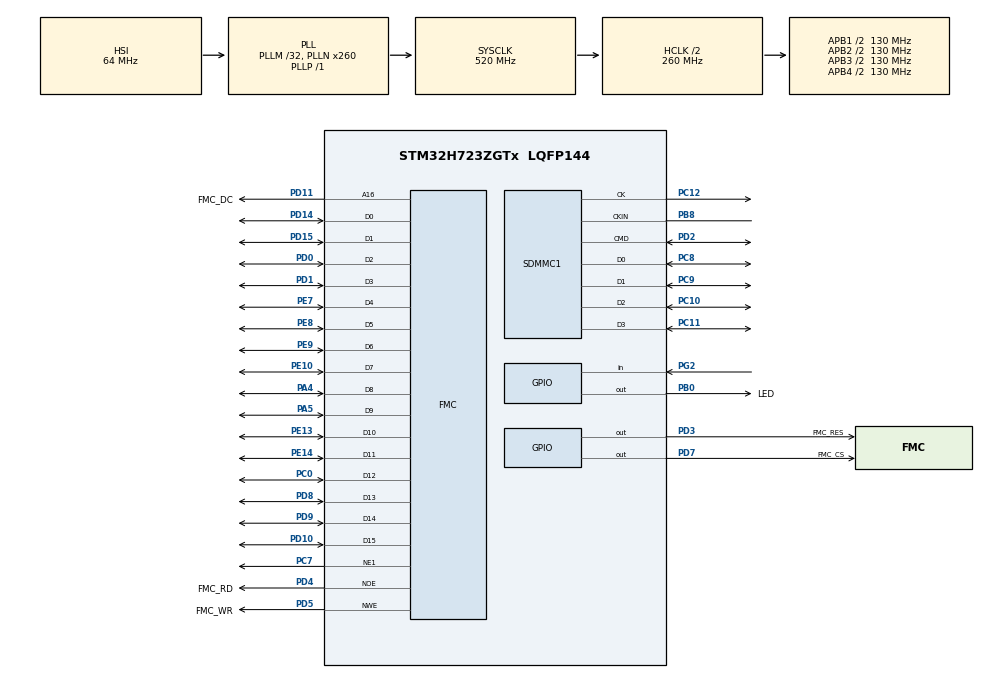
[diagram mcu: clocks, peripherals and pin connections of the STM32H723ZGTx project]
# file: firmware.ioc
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CORTEX_M7.default_mode_Activation=1
CRC.InputDataInversionMode=CRC_INPUTDATA_INVERSION_BYTE
CRC.OutputDataInversionMode=CRC_OUTPUTDATA_INVERSION_ENABLE
FATFS.BSP.number=1
FATFS0.BSP.STBoard=false
FATFS0.BSP.api=Unknown
FATFS0.BSP.instance=PG2
FATFS0.BSP.ip=GPIO
FATFS0.BSP.mode=Input
FATFS0.BSP.name=Detect_SDIO
FATFS0.BSP.solution=PG2
FMC.ExtendedMode1=FMC_EXTENDED_MODE_DISABLE
FREERTOS.Tasks01=defaultTask,24,128,StartDefaultTask,Default,NULL,Dynamic,NULL,NULL
Mcu.Family=STM32H7
Mcu.Name=STM32H723ZGTx
Mcu.Package=LQFP144
NVIC.PriorityGroup=NVIC_PRIORITYGROUP_4
NVIC.TIM6_DAC_IRQn=true\:15\:0\:false\:false\:true\:false\:false\:true\:true
NVIC.TimeBase=TIM6_DAC_IRQn
NVIC.TimeBaseIP=TIM6
PA4.Signal=FMC_D8_DA8
PA5.Signal=FMC_D9_DA9
PB0.GPIO_Label=LED
PB0.Signal=GPIO_Output
PB8.Mode=SD_4_bits_Wide_bus_auto_dir_voltage_converter
PB8.Signal=SDMMC1_CKIN
PC0.Signal=FMC_D12_DA12
PC10.Mode=SD_4_bits_Wide_bus_auto_dir_voltage_converter
PC10.Signal=SDMMC1_D2
PC11.Mode=SD_4_bits_Wide_bus_auto_dir_voltage_converter
PC11.Signal=SDMMC1_D3
PC12.GPIO_PuPd=GPIO_PULLUP
PC12.Mode=SD_4_bits_Wide_bus_auto_dir_voltage_converter
PC12.Signal=SDMMC1_CK
PC7.Mode=NorPsramChipSelect1_1
PC7.Signal=FMC_NE1
PC8.GPIO_PuPd=GPIO_PULLUP
PC8.Mode=SD_4_bits_Wide_bus_auto_dir_voltage_converter
PC8.Signal=SDMMC1_D0
PC9.Mode=SD_4_bits_Wide_bus_auto_dir_voltage_converter
PC9.Signal=SDMMC1_D1
PD0.Signal=FMC_D2_DA2
PD1.Signal=FMC_D3_DA3
PD10.Signal=FMC_D15_DA15
PD11.GPIO_Label=FMC_DC
PD11.Signal=FMC_A16_CLE
PD14.Signal=FMC_D0_DA0
PD15.Signal=FMC_D1_DA1
PD2.GPIO_PuPd=GPIO_PULLUP
PD2.Mode=SD_4_bits_Wide_bus_auto_dir_voltage_converter
PD2.Signal=SDMMC1_CMD
PD3.GPIO_Label=FMC_RES
PD3.Signal=GPIO_Output
PD4.GPIO_Label=FMC_RD
PD4.Signal=FMC_NOE
PD5.GPIO_Label=FMC_WR
PD5.Signal=FMC_NWE
PD7.GPIO_Label=FMC_CS
PD7.Signal=GPIO_Output
PD8.Signal=FMC_D13_DA13
PD9.Signal=FMC_D14_DA14
PE10.Signal=FMC_D7_DA7
PE13.Signal=FMC_D10_DA10
PE14.Signal=FMC_D11_DA11
PE7.Signal=FMC_D4_DA4
PE8.Signal=FMC_D5_DA5
PE9.Signal=FMC_D6_DA6
PG2.Signal=GPIO_Input
ProjectManager.HeapSize=0x200
ProjectManager.StackSize=0x400
ProjectManager.TargetToolchain=CMake
RCC.ADCFreq_Value=96000000
RCC.APB1Freq_Value=130000000
RCC.APB2Freq_Value=130000000
RCC.APB3Freq_Value=130000000
RCC.APB4Freq_Value=130000000
RCC.CortexFreq_Value=520000000
RCC.D1PPRE=RCC_APB3_DIV2
RCC.D2PPRE1=RCC_APB1_DIV2
RCC.D2PPRE2=RCC_APB2_DIV2
RCC.D3PPRE=RCC_APB4_DIV2
RCC.DIVM1=32
RCC.DIVM2=32
RCC.DIVN1=260
RCC.DIVN2=192
RCC.DIVP1=1
RCC.DIVQ1=4
RCC.DIVR2=4
RCC.HCLKFreq_Value=260000000
RCC.HPRE=RCC_HCLK_DIV2
RCC.PLL2FRACN=0
RCC.PLLFRACN=0
RCC.PWR_Regulator_Voltage_Scale=PWR_REGULATOR_VOLTAGE_SCALE0
RCC.SDMMC1CLockSelection=RCC_SDMMCCLKSOURCE_PLL2
RCC.SYSCLKFreq_VALUE=520000000
RCC.SYSCLKSource=RCC_SYSCLKSOURCE_PLLCLK
RCC.USBFreq_Value=96000000
SDMMC1.ClockDiv=8
SDMMC1.HardwareFlowControl=SDMMC_HARDWARE_FLOW_CONTROL_ENABLE
SH.FMC_A16_CLE.0=FMC_A16,A16_1
SH.FMC_D0_DA0.0=FMC_D0,16b-d1
SH.FMC_D10_DA10.0=FMC_D10,16b-d1
SH.FMC_D11_DA11.0=FMC_D11,16b-d1
SH.FMC_D12_DA12.0=FMC_D12,16b-d1
SH.FMC_D13_DA13.0=FMC_D13,16b-d1
SH.FMC_D14_DA14.0=FMC_D14,16b-d1
SH.FMC_D15_DA15.0=FMC_D15,16b-d1
SH.FMC_D1_DA1.0=FMC_D1,16b-d1
SH.FMC_D2_DA2.0=FMC_D2,16b-d1
SH.FMC_D3_DA3.0=FMC_D3,16b-d1
SH.FMC_D4_DA4.0=FMC_D4,16b-d1
SH.FMC_D5_DA5.0=FMC_D5,16b-d1
SH.FMC_D6_DA6.0=FMC_D6,16b-d1
SH.FMC_D7_DA7.0=FMC_D7,16b-d1
SH.FMC_D8_DA8.0=FMC_D8,16b-d1
SH.FMC_D9_DA9.0=FMC_D9,16b-d1
SH.FMC_NOE.0=FMC_NOE,Lcd1
SH.FMC_NWE.0=FMC_NWE,Lcd1
VP_CRC_VS_CRC.Mode=CRC_Activate
VP_FATFS_VS_SDIO.Mode=SDIO
VP_FREERTOS_VS_CMSIS_V2.Mode=CMSIS_V2
VP_MEMORYMAP_VS_MEMORYMAP.Mode=CurAppReg
VP_SYS_VS_tim6.Mode=TIM6
board=custom

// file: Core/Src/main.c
/* USER CODE BEGIN Header */
/**
  ******************************************************************************
  * @file           : main.c
  * @brief          : Main program body
  ******************************************************************************
  * @attention
  *
  * Copyright (c) 2026 STMicroelectronics.
  * All rights reserved.
  *
  * This software is licensed under terms that can be found in the LICENSE file
  * in the root directory of this software component.
  * If no LICENSE file comes with this software, it is provided AS-IS.
  *
  ******************************************************************************
  */
/* USER CODE END Header */
#include "main.h"
#include "FreeRTOS.h"
#include "cmsis_os2.h"
#include "crc.h"
#include "fatfs.h"
#include "sdmmc.h"
#include "gpio.h"
#include "fmc.h"

/* USER CODE BEGIN Includes */
#include "db_main.h"
#include "sd_bus_test.h"
#include "persist_demo.h"
#include "mh_main.h"
#include "mh_demo.h"
#include "sa_main.h"
#include "database_main.h"
#include "db_demo.h"
#include "test_fmc.h"
#if NAME_INDEX_BENCH
#include "name_index_bench.h"
#endif
/* USER CODE END Includes */

void SystemClock_Config(void);
static void MPU_Config(void);
void MX_FREERTOS_Init(void);
/* USER CODE BEGIN PFP */
static void MPU_Config_FMC(void);

/* USER CODE END PFP */

int main(void)
{

  /* MPU Configuration--------------------------------------------------------*/
  MPU_Config();

  /* MCU Configuration--------------------------------------------------------*/

  /* Reset of all peripherals, Initializes the Flash interface and the Systick. */
  HAL_Init();

  /* USER CODE BEGIN Init */
  MPU_Config_FMC();

  /* USER CODE END Init */

  /* Configure the system clock */
  SystemClock_Config();

  /* Initialize all configured peripherals */
  MX_GPIO_Init();
  MX_FMC_Init();
  MX_SDMMC1_SD_Init();
  MX_FATFS_Init();
  MX_CRC_Init();
  /* USER CODE BEGIN 2 */
#if SD_BUS_TEST
  SD_BusTest_Init();
#elif PERSIST_DEMO
  PersistDemo_Init();
#elif MH_TEST
  MH_Test_Init();
#elif MH_DEMO
  MH_Demo_Init();
#elif SA_TEST
  SA_Test_Init();
#elif DATABASE_TEST
  Database_Test_Init();
#elif DB_DEMO
  DB_Demo_Init();
#elif NAME_INDEX_BENCH
  NameIndexBench_Init();
#else
  DB_Init();
#endif
  /* USER CODE END 2 */

  /* Init scheduler */
  osKernelInitialize();  /* Call init function for freertos objects (in cmsis_os2.c) */
  MX_FREERTOS_Init();

  /* Start scheduler */
  osKernelStart();

  /* We should never get here as control is now taken by the scheduler */

  /* Infinite loop */
  while (1)
  {

  }
}

void SystemClock_Config(void)
{
  RCC_OscInitTypeDef RCC_OscInitStruct = {0};
  RCC_ClkInitTypeDef RCC_ClkInitStruct = {0};

  /** Supply configuration update enable
  */
  HAL_PWREx_ConfigSupply(PWR_LDO_SUPPLY);

  /** Configure the main internal regulator output voltage
  */
  __HAL_PWR_VOLTAGESCALING_CONFIG(PWR_REGULATOR_VOLTAGE_SCALE0);

  while(!__HAL_PWR_GET_FLAG(PWR_FLAG_VOSRDY)) {}

  /** Initializes the RCC Oscillators according to the specified parameters
  * in the RCC_OscInitTypeDef structure.
  */
  RCC_OscInitStruct.OscillatorType = RCC_OSCILLATORTYPE_HSI;
  RCC_OscInitStruct.HSIState = RCC_HSI_DIV1;
  RCC_OscInitStruct.HSICalibrationValue = 64;
  RCC_OscInitStruct.PLL.PLLState = RCC_PLL_ON;
  RCC_OscInitStruct.PLL.PLLSource = RCC_PLLSOURCE_HSI;
  RCC_OscInitStruct.PLL.PLLM = 32;
  RCC_OscInitStruct.PLL.PLLN = 260;
  RCC_OscInitStruct.PLL.PLLP = 1;
  RCC_OscInitStruct.PLL.PLLQ = 4;
  RCC_OscInitStruct.PLL.PLLR = 2;
  RCC_OscInitStruct.PLL.PLLRGE = RCC_PLL1VCIRANGE_1;
  RCC_OscInitStruct.PLL.PLLVCOSEL = RCC_PLL1VCOWIDE;
  RCC_OscInitStruct.PLL.PLLFRACN = 0;
  if (HAL_RCC_OscConfig(&RCC_OscInitStruct) != HAL_OK)
  {
    Error_Handler();
  }

  /** Initializes the CPU, AHB and APB buses clocks
  */
  RCC_ClkInitStruct.ClockType = RCC_CLOCKTYPE_HCLK|RCC_CLOCKTYPE_SYSCLK
                              |RCC_CLOCKTYPE_PCLK1|RCC_CLOCKTYPE_PCLK2
                              |RCC_CLOCKTYPE_D3PCLK1|RCC_CLOCKTYPE_D1PCLK1;
  RCC_ClkInitStruct.SYSCLKSource = RCC_SYSCLKSOURCE_PLLCLK;
  RCC_ClkInitStruct.SYSCLKDivider = RCC_SYSCLK_DIV1;
  RCC_ClkInitStruct.AHBCLKDivider = RCC_HCLK_DIV2;
  RCC_ClkInitStruct.APB3CLKDivider = RCC_APB3_DIV2;
  RCC_ClkInitStruct.APB1CLKDivider = RCC_APB1_DIV2;
  RCC_ClkInitStruct.APB2CLKDivider = RCC_APB2_DIV2;
  RCC_ClkInitStruct.APB4CLKDivider = RCC_APB4_DIV2;

  if (HAL_RCC_ClockConfig(&RCC_ClkInitStruct, FLASH_LATENCY_3) != HAL_OK)
  {
    Error_Handler();
  }
}

/* USER CODE BEGIN 4 */

/* The generated MPU_Config() makes 0x60000000-0x7FFFFFFF no-access, which
 * would fault on the first LCD write. Open up FMC bank 1 (64MB) as
 * strongly-ordered memory so the Cortex-M7 doesn't reorder, merge or
 * speculatively read the LCD command/data registers. */
static void MPU_Config_FMC(void)
{
  MPU_Region_InitTypeDef MPU_InitStruct = {0};

  HAL_MPU_Disable();

  MPU_InitStruct.Enable = MPU_REGION_ENABLE;
  MPU_InitStruct.Number = MPU_REGION_NUMBER1;
  MPU_InitStruct.BaseAddress = 0x60000000;
  MPU_InitStruct.Size = MPU_REGION_SIZE_64MB;
  MPU_InitStruct.SubRegionDisable = 0x00;
  MPU_InitStruct.TypeExtField = MPU_TEX_LEVEL0;
  MPU_InitStruct.AccessPermission = MPU_REGION_FULL_ACCESS;
  MPU_InitStruct.DisableExec = MPU_INSTRUCTION_ACCESS_DISABLE;
  MPU_InitStruct.IsShareable = MPU_ACCESS_SHAREABLE;
  MPU_InitStruct.IsCacheable = MPU_ACCESS_NOT_CACHEABLE;
  MPU_InitStruct.IsBufferable = MPU_ACCESS_NOT_BUFFERABLE;

  HAL_MPU_ConfigRegion(&MPU_InitStruct);
  HAL_MPU_Enable(MPU_PRIVILEGED_DEFAULT);
}

/* USER CODE END 4 */

 /* MPU Configuration */

void MPU_Config(void)
{
  MPU_Region_InitTypeDef MPU_InitStruct = {0};

  /* Disables the MPU */
  HAL_MPU_Disable();

  /** Initializes and configures the Region and the memory to be protected
  */
  MPU_InitStruct.Enable = MPU_REGION_ENABLE;
  MPU_InitStruct.Number = MPU_REGION_NUMBER0;
  MPU_InitStruct.BaseAddress = 0x0;
  MPU_InitStruct.Size = MPU_REGION_SIZE_4GB;
  MPU_InitStruct.SubRegionDisable = 0x87;
  MPU_InitStruct.TypeExtField = MPU_TEX_LEVEL0;
  MPU_InitStruct.AccessPermission = MPU_REGION_NO_ACCESS;
  MPU_InitStruct.DisableExec = MPU_INSTRUCTION_ACCESS_DISABLE;
  MPU_InitStruct.IsShareable = MPU_ACCESS_SHAREABLE;
  MPU_InitStruct.IsCacheable = MPU_ACCESS_NOT_CACHEABLE;
  MPU_InitStruct.IsBufferable = MPU_ACCESS_NOT_BUFFERABLE;

  HAL_MPU_ConfigRegion(&MPU_InitStruct);
  /* Enables the MPU */
  HAL_MPU_Enable(MPU_PRIVILEGED_DEFAULT);

}

void HAL_TIM_PeriodElapsedCallback(TIM_HandleTypeDef *htim)
{
  if (htim->Instance == TIM6)
  {
    HAL_IncTick();
  }
}

void Error_Handler(void)
{
  __disable_irq();
  while (1)
  {
  }
}

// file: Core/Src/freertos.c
/* USER CODE BEGIN Header */
/**
  ******************************************************************************
  * File Name          : freertos.c
  * Description        : Code for freertos applications
  ******************************************************************************
  * @attention
  *
  * Copyright (c) 2026 STMicroelectronics.
  * All rights reserved.
  *
  * This software is licensed under terms that can be found in the LICENSE file
  * in the root directory of this software component.
  * If no LICENSE file comes with this software, it is provided AS-IS.
  *
  ******************************************************************************
  */
/* USER CODE END Header */

#include "FreeRTOS.h"
#include "task.h"
#include "main.h"
#include "FreeRTOS.h"
#include "cmsis_os2.h"

/* USER CODE BEGIN Includes */
#include <string.h>
#include <stdint.h>

#include "fatfs.h"
#include "sdmmc.h"
#include "raw_sd.h"
#include "fmc_func.h"
#include "fmc_ui_test.h"
extern SD_HandleTypeDef hsd1;
/* USER CODE END Includes */

/* USER CODE BEGIN Variables */
osThreadId_t FMC_TaskHandle;

const osThreadAttr_t fmc_attributes = {
  .name = "FMC Task",
  .stack_size = 1024 * 4,
  .priority = (osPriority_t) osPriorityNormal,
};
osThreadId_t heartbeatTaskHandle;

const osThreadAttr_t heartbeatTask_attributes = {
  .name = "Heartbeat Task",
  .stack_size = 256 * 4,
  .priority = (osPriority_t) osPriorityNormal,
};

/* USER CODE END Variables */
/* Definitions for defaultTask */
osThreadId_t defaultTaskHandle;
const osThreadAttr_t defaultTask_attributes = {
  .name = "defaultTask",
  .stack_size = 128 * 4,
  .priority = (osPriority_t) osPriorityNormal,
};

/* USER CODE BEGIN FunctionPrototypes */
void HeartbeatTask(void *argument);
void fmcTask(void *argument);

/* USER CODE END FunctionPrototypes */

void StartDefaultTask(void *argument);

void MX_FREERTOS_Init(void); /* (MISRA C 2004 rule 8.1) */

void MX_FREERTOS_Init(void) {

  /* Create the thread(s) */
  /* creation of defaultTask */
  defaultTaskHandle = osThreadNew(StartDefaultTask, NULL, &defaultTask_attributes);

  /* USER CODE BEGIN RTOS_THREADS */
  /* add threads, ... */
  /* The LCD is owned by the DB test task (htest_ui.c); fmcTask's UI demo would draw over it. */
  // FMC_TaskHandle = osThreadNew(fmcTask, NULL, &fmc_attributes);
  /* USER CODE END RTOS_THREADS */

}

/* USER CODE BEGIN Header_StartDefaultTask */
// /**
//   * @brief  Function implementing the defaultTask thread.
//   * @param  argument: Not used
//   * @retval None
//   */
/* USER CODE END Header_StartDefaultTask */
void StartDefaultTask(void *argument)
{
  /* USER CODE BEGIN StartDefaultTask */
  /* Infinite loop */
  for(;;)
  {
      GPIOB->ODR ^= (1 << 0);
    osDelay(500);
  }
  /* USER CODE END StartDefaultTask */
}

/* USER CODE BEGIN Application */

void HeartbeatTask(void *argument)
{
  /* USER CODE BEGIN StartDefaultTask */
  /* Infinite loop */
  for(;;)
  {
      GPIOB->ODR ^= (1 << 0);
    osDelay(500);
  }
  /* USER CODE END StartDefaultTask */
}

void fmcTask(void *argument)
{
    lcd_init();
    fmc_ui_test_run();
}

/* USER CODE END Application */
